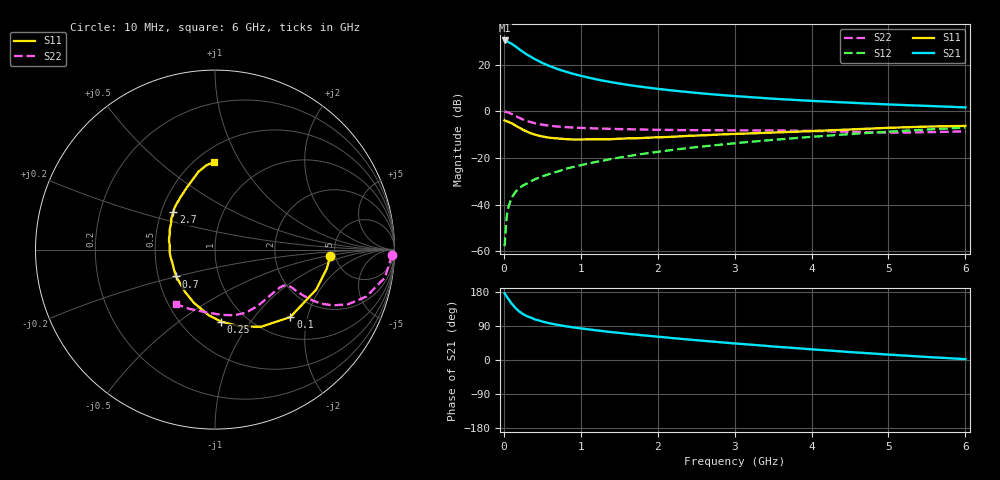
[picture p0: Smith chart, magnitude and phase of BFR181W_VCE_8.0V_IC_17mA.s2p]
! (c) 2017  Infineon Technologies AG, Munich
! Infineon Technologies  Discrete & RF Semiconductors
! BFR181W
! VCE =  8.0 V,  IC =  17 mA
! Common Emitter S-Parameters:  Jan 2017
# GHz  S  MA  R  50
!  f  S11  S21  S12  S22
! GHz  MAG  ANG  MAG  ANG  MAG  ANG  MAG  ANG
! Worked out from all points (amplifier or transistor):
!   77 points, 10 MHz to 6 GHz, reference 50 ohm
!   highest |S21| = 30.3 dB at 10 MHz (marker M1)
!   |S21| within 3 dB of that: start of sweep to 169.8 MHz
!   unconditionally stable (mu >= 1): 855.2 MHz to 2.589 GHz
!   at 130 MHz: K = 0.36, MSG = 31.9 dB, |S12| = -35.5 dB
!   at 2.2 GHz: K = 1.03, MAG = 11.7 dB, |S12| = -16.5 dB
!   at 6 GHz: K = 0.83, MSG = 4.3 dB, |S12| = -6.9 dB
!   S11 on the Smith chart (normalised r, x): 10 MHz: 4.53, -0.56; 100 MHz: 1.43, -1.57; 250 MHz: 0.77, -0.73; 700 MHz: 0.62, -0.20; 2.7 GHz: 0.58, +0.27; 6 GHz: 0.61, +0.78
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0.01  0.6432 -3.2  32.92 176.3  0.0013 91.6  0.9862 -1.7
0.02  0.6315 -9.9  32.32 172.5  0.0023 96.2  0.9792 -3.5
0.05  0.6064 -21.5  31.15 163.4  0.0077 80.7  0.9582 -9.5
0.1  0.5634 -41.8  28.1 148.9  0.0137 74.5  0.8828 -17.2
0.15  0.5005 -59.3  24.67 137.4  0.0188 69.1  0.8006 -22.4
0.2  0.4465 -72.8  21.36 128.2  0.0227 67.6  0.7267 -25.3
0.25  0.4027 -85.0  18.7 121.1  0.026 65.5  0.6675 -26.9
0.3  0.3675 -95.4  16.43 115.6  0.0285 63.9  0.6201 -27.5
0.4  0.319 -111.6  13.16 107.4  0.0349 65.2  0.5564 -27.5
0.5  0.2898 -124.8  10.87 101.5  0.0406 66.6  0.517 -27.1
0.6  0.2713 -135.6  9.251 96.7  0.0462 67.4  0.4913 -26.6
0.7  0.2628 -145.3  8.031 92.8  0.0516 68.8  0.4728 -26.2
0.9  0.2494 -160.1  6.355 86.2  0.0643 69.9  0.4503 -26.4
1.1  0.2516 -172.0  5.277 80.9  0.0766 70.9  0.4365 -27.2
1.3  0.2523 177.6  4.502 75.9  0.0886 71.2  0.4265 -28.7
1.5  0.2598 170.0  3.943 71.6  0.1024 71.3  0.4171 -30.7
2.1  0.2816 151.5  2.907 59.7  0.1428 69.5  0.4005 -39.2
2.7  0.313 137.9  2.325 48.9  0.1851 66.7  0.3935 -50.0
3.1  0.3326 130.1  2.07 42.2  0.2148 64.2  0.3914 -57.3
4.1  0.3835 113.4  1.646 26.8  0.2925 57.2  0.3772 -75.5
5.1  0.4492 100.6  1.384 13.0  0.3746 48.5  0.3523 -101.0
6  0.4884 90.4  1.217 2.2  0.4494 39.4  0.3747 -125.8
